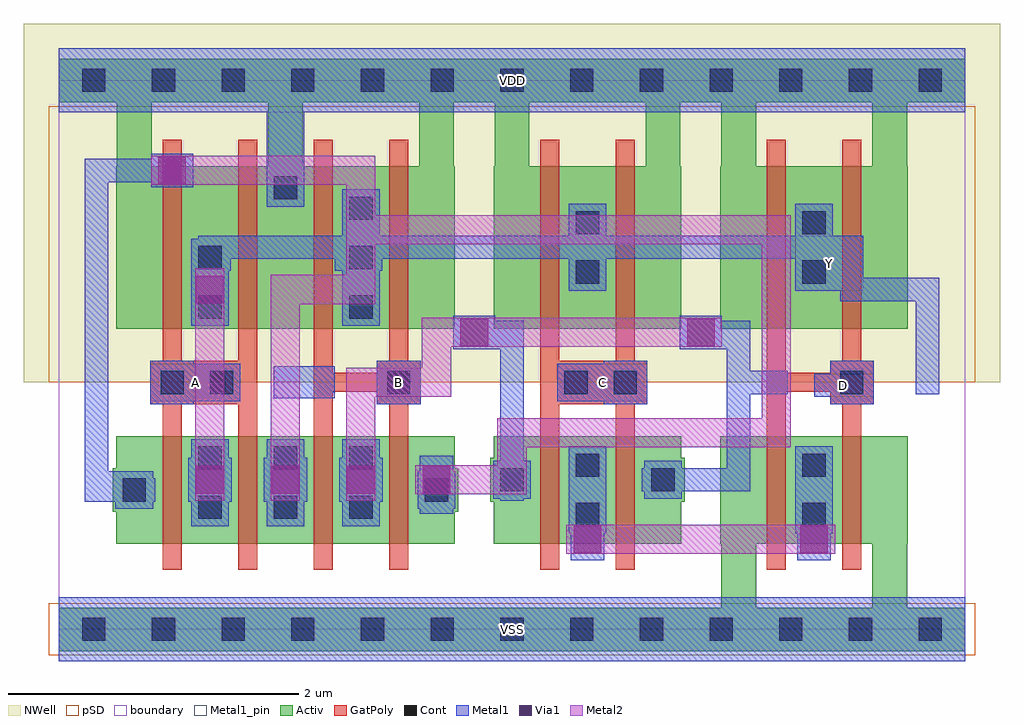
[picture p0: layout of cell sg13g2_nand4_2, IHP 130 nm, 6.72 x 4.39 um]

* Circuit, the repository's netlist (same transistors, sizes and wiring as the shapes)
.SUBCKT sg13g2_nand4_2 Y A B C D VDD VSS
*.PININFO A:I B:I C:I D:I Y:O VDD:B VSS:B
MP3 Y D VDD VDD sg13_lv_pmos w=2.24u l=130.00n ng=2
MP0 Y A VDD VDD sg13_lv_pmos w=2.24u l=130.00n ng=2
MP1 Y B VDD VDD sg13_lv_pmos w=2.24u l=130.00n ng=2
MP2 Y C VDD VDD sg13_lv_pmos w=2.24u l=130.00n ng=2
MN1 net2 B net3 VSS sg13_lv_nmos w=1.48u l=130.00n ng=2
MN2 net3 C net5 VSS sg13_lv_nmos w=1.48u l=130.00n ng=2
MN0 Y A net2 VSS sg13_lv_nmos w=1.48u l=130.00n ng=2
MN3 net5 D VSS VSS sg13_lv_nmos w=1.48u l=130.00n ng=2
.ENDS

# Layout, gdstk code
import gdstk
lib = gdstk.Library(unit=1e-6, precision=1e-09)
def R(c, l, rs):  # rectangles x0, y0, x1, y1
    for r in rs: c.add(gdstk.rectangle(r[:2], r[2:], *l))
def A(c, l, x, y, w, h, nx, ny, dx, dy):  # array of equal rectangles
    R(c, l, [(x+i*dx, y+j*dy, x+i*dx+w, y+j*dy+h) for i in range(nx) for j in range(ny)])
def P(c, l, *ps):  # polygons
    for p in ps: c.add(gdstk.Polygon(p, *l))
Activ = (1, 0)
GatPoly = (5, 0)
Cont = (6, 0)
Metal1 = (8, 0)
Metal1_pin = (8, 2)
Metal2 = (10, 0)
pSD = (14, 0)
Via1 = (19, 0)
NWell = (31, 0)
boundary = (189, 4)

sg13g2_nand4_2 = lib.new_cell('sg13g2_nand4_2')
P(sg13g2_nand4_2, Activ, [(4.56,0.15),(0,0.15),(0,-0.15),(6.24,-0.15),(6.24,0.15),(4.56,0.15),(4.8,0.15),(4.8,0.59),(5.6,0.59),(5.6,0.15),(5.84,0.15),(5.84,0.59),(5.845,0.59),(5.845,1.33),(4.555,1.33),(4.555,0.59),(4.56,0.59)],
  [(4.8,3.63),(4.8,3.93),(3.24,3.93),(3.24,3.63),(3.24,3.93),(1.68,3.93),(1.68,3.63),(1.68,3.93),(0.64,3.93),(0.64,3.63),(0.64,3.93),(0,3.93),(0,3.63),(0.4,3.63),(0.4,3.19),(0.395,3.19),(0.395,2.07),(0.64,2.07),(0.64,3.63),(1.44,3.63),(1.44,3.19),(0.64,3.19),(0.64,2.07),(1.68,2.07),(1.68,3.63),(2.48,3.63),(2.48,3.19),(1.68,3.19),(1.68,2.07),(2.725,2.07),(2.725,3.19),(2.72,3.19),(2.72,3.63),(3,3.63),(3,3.19),(2.995,3.19),(2.995,2.07),(3.24,2.07),(3.24,3.63),(4.04,3.63),(4.04,3.19),(3.24,3.19),(3.24,2.07),(4.285,2.07),(4.285,3.19),(4.28,3.19),(4.28,3.63),(4.56,3.63),(4.56,3.19),(4.555,3.19),(4.555,2.07),(4.8,2.07),(4.8,3.63),(5.6,3.63),(5.6,3.19),(4.8,3.19),(4.8,2.07),(5.845,2.07),(5.845,3.19),(5.84,3.19),(5.84,3.63),(6.24,3.63),(6.24,3.93),(4.8,3.93)],
  [(0.37,0.81),(0.395,0.81),(0.395,0.59),(2.725,0.59),(2.725,0.81),(2.75,0.81),(2.75,1.11),(2.725,1.11),(2.725,1.33),(0.395,1.33),(0.395,1.11),(0.37,1.11)],
  [(2.97,0.88),(2.995,0.88),(2.995,0.59),(4.285,0.59),(4.285,0.88),(4.31,0.88),(4.31,1.18),(4.285,1.18),(4.285,1.33),(2.995,1.33),(2.995,1.18),(2.97,1.18)])
P(sg13g2_nand4_2, GatPoly, [(0.63,1.55),(0.715,1.55),(0.715,0.41),(0.845,0.41),(0.845,1.55),(1.235,1.55),(1.235,0.41),(1.365,0.41),(1.365,3.37),(1.235,3.37),(1.235,1.85),(0.845,1.85),(0.845,3.37),(0.715,3.37),(0.715,1.85),(0.63,1.85)],
  [(1.755,0.41),(1.885,0.41),(1.885,1.635),(2.19,1.635),(2.19,1.55),(2.275,1.55),(2.275,0.41),(2.405,0.41),(2.405,1.55),(2.49,1.55),(2.49,1.85),(2.405,1.85),(2.405,3.37),(2.275,3.37),(2.275,1.85),(2.19,1.85),(2.19,1.765),(1.885,1.765),(1.885,3.37),(1.755,3.37)],
  [(3.315,0.41),(3.445,0.41),(3.445,1.55),(3.835,1.55),(3.835,0.41),(3.965,0.41),(3.965,1.55),(4.05,1.55),(4.05,1.85),(3.965,1.85),(3.965,3.37),(3.835,3.37),(3.835,1.85),(3.445,1.85),(3.445,3.37),(3.315,3.37)],
  [(4.875,0.41),(5.005,0.41),(5.005,1.635),(5.31,1.635),(5.31,1.55),(5.395,1.55),(5.395,0.41),(5.525,0.41),(5.525,1.55),(5.61,1.55),(5.61,1.85),(5.525,1.85),(5.525,3.37),(5.395,3.37),(5.395,1.85),(5.31,1.85),(5.31,1.765),(5.005,1.765),(5.005,3.37),(4.875,3.37)])
A(sg13g2_nand4_2, Cont, 0.16, -0.08, 0.16, 0.16, 13, 2, 0.48, 3.78)
A(sg13g2_nand4_2, Cont, 0.96, 0.76, 0.16, 0.16, 3, 2, 0.52, 0.34)
A(sg13g2_nand4_2, Cont, 1.04, 1.62, 0.16, 0.16, 3, 1, 1.22, 0)
A(sg13g2_nand4_2, Cont, 2, 2.14, 0.16, 0.16, 1, 3, 0, 0.34)
R(sg13g2_nand4_2, Cont, [(3.56,0.71,3.72,0.87), (5.12,0.71,5.28,0.87), (0.44,0.88,0.6,1.04), (2.52,0.88,2.68,1.04), (3.04,0.95,3.2,1.11), (4.08,0.95,4.24,1.11), (3.56,1.05,3.72,1.21), (5.12,1.05,5.28,1.21), (0.7,1.62,0.86,1.78), (3.82,1.62,3.98,1.78), (5.38,1.62,5.54,1.78), (0.96,2.14,1.12,2.3), (3.56,2.38,3.72,2.54), (5.12,2.38,5.28,2.54), (0.96,2.48,1.12,2.64), (3.56,2.72,3.72,2.88), (5.12,2.72,5.28,2.88), (1.48,2.96,1.64,3.12)])
R(sg13g2_nand4_2, Metal1, [(0,-0.22,6.24,0.22), (2.19,1.55,2.49,1.85), (1.48,1.59,1.9,1.81)])
P(sg13g2_nand4_2, Metal1, [(0,3.56),(1.43,3.56),(1.43,2.91),(1.69,2.91),(1.69,3.56),(6.24,3.56),(6.24,4),(0,4)],
  [(0.18,0.88),(0.39,0.88),(0.39,0.83),(0.65,0.83),(0.65,0.88),(0.665,0.88),(0.665,1.04),(0.65,1.04),(0.65,1.09),(0.34,1.09),(0.34,3.08),(0.635,3.08),(0.635,3.045),(0.925,3.045),(0.925,3.275),(0.635,3.275),(0.635,3.24),(0.18,3.24)],
  [(0.63,1.55),(0.93,1.55),(0.93,1.57),(1.25,1.57),(1.25,1.83),(0.93,1.83),(0.93,1.85),(0.63,1.85)],
  [(0.89,0.88),(0.91,0.88),(0.91,0.71),(1.17,0.71),(1.17,0.88),(1.19,0.88),(1.19,1.18),(1.17,1.18),(1.17,1.31),(0.91,1.31),(0.91,1.18),(0.89,1.18)],
  [(0.91,2.09),(1.17,2.09),(1.17,2.47),(1.185,2.47),(1.185,2.55),(1.9,2.55),(1.9,2.47),(1.95,2.47),(1.95,2.09),(2.21,2.09),(2.21,2.47),(2.225,2.47),(2.225,2.55),(3.51,2.55),(3.51,2.33),(3.77,2.33),(3.77,2.55),(5.07,2.55),(5.07,2.33),(5.38,2.33),(5.38,2.26),(5.9,2.26),(5.9,1.62),(6.06,1.62),(6.06,2.42),(5.54,2.42),(5.54,2.71),(5.33,2.71),(5.33,2.93),(5.07,2.93),(5.07,2.71),(3.77,2.71),(3.77,2.93),(3.51,2.93),(3.51,2.71),(2.21,2.71),(2.21,3.03),(1.95,3.03),(1.95,2.71),(0.96,2.71),(0.96,2.69),(0.91,2.69)],
  [(1.41,0.88),(1.43,0.88),(1.43,0.71),(1.69,0.71),(1.69,0.88),(1.71,0.88),(1.71,1.18),(1.69,1.18),(1.69,1.31),(1.43,1.31),(1.43,1.18),(1.41,1.18)],
  [(1.93,0.88),(1.95,0.88),(1.95,0.71),(2.21,0.71),(2.21,0.88),(2.23,0.88),(2.23,1.18),(2.21,1.18),(2.21,1.31),(1.95,1.31),(1.95,1.18),(1.93,1.18)],
  [(2.47,0.83),(2.485,0.83),(2.485,0.795),(2.715,0.795),(2.715,0.83),(2.73,0.83),(2.73,1.09),(2.715,1.09),(2.715,1.195),(2.485,1.195),(2.485,1.09),(2.47,1.09)],
  [(2.715,1.93),(3.04,1.93),(3.04,1.16),(2.99,1.16),(2.99,0.9),(3.04,0.9),(3.04,0.885),(3.2,0.885),(3.2,0.9),(3.25,0.9),(3.25,1.16),(3.2,1.16),(3.2,2.125),(3.005,2.125),(3.005,2.16),(2.715,2.16)],
  [(3.43,1.57),(3.75,1.57),(3.75,1.55),(4.05,1.55),(4.05,1.85),(3.75,1.85),(3.75,1.83),(3.43,1.83)],
  [(3.51,0.66),(3.525,0.66),(3.525,0.475),(3.755,0.475),(3.755,0.66),(3.77,0.66),(3.77,1.26),(3.51,1.26)],
  [(4.015,0.95),(4.03,0.95),(4.03,0.9),(4.29,0.9),(4.29,0.95),(4.76,0.95),(4.76,1.62),(5.02,1.62),(5.02,1.78),(4.76,1.78),(4.76,2.125),(4.565,2.125),(4.565,2.16),(4.275,2.16),(4.275,1.93),(4.6,1.93),(4.6,1.11),(4.29,1.11),(4.29,1.16),(4.03,1.16),(4.03,1.11),(4.015,1.11)],
  [(5.07,0.66),(5.085,0.66),(5.085,0.475),(5.315,0.475),(5.315,0.66),(5.33,0.66),(5.33,1.26),(5.07,1.26)],
  [(5.2,1.6),(5.31,1.6),(5.31,1.55),(5.61,1.55),(5.61,1.85),(5.31,1.85),(5.31,1.76),(5.2,1.76)])
R(sg13g2_nand4_2, Metal1_pin, [(0,-0.22,6.24,0.22), (2.19,1.55,2.49,1.85), (0.63,1.57,1.25,1.83), (3.43,1.57,4.05,1.83), (5.2,1.6,5.61,1.76), (5.07,2.33,5.54,2.71), (0,3.56,6.24,4)])
R(sg13g2_nand4_2, Metal2, [(3.495,0.52,5.345,0.72), (0.94,0.885,1.14,2.485)])
P(sg13g2_nand4_2, Metal2, [(0.635,3.06),(1.98,3.06),(1.98,2.44),(1.46,2.44),(1.46,0.885),(1.66,0.885),(1.66,2.24),(2.18,2.24),(2.18,2.65),(4.84,2.65),(4.84,1.455),(3.02,1.455),(3.02,1.13),(2.455,1.13),(2.455,0.93),(3.22,0.93),(3.22,1.255),(5.04,1.255),(5.04,2.85),(2.18,2.85),(2.18,3.26),(0.635,3.26)],
  [(1.98,0.885),(2.18,0.885),(2.18,1.6),(2.7,1.6),(2.7,1.945),(4.565,1.945),(4.565,2.145),(2.5,2.145),(2.5,1.8),(1.98,1.8)])
R(sg13g2_nand4_2, pSD, [(-0.07,-0.18,6.31,0.18), (-0.07,1.7,6.31,3.6)])
A(sg13g2_nand4_2, Via1, 0.945, 0.935, 0.19, 0.19, 4, 1, 0.52, 0)
R(sg13g2_nand4_2, Via1, [(3.545,0.525,3.735,0.715), (5.105,0.525,5.295,0.715), (2.765,1.95,2.955,2.14), (4.325,1.95,4.515,2.14), (0.945,2.245,1.135,2.435), (0.685,3.065,0.875,3.255)])
R(sg13g2_nand4_2, NWell, [(-0.24,1.7,6.48,4.17)])
R(sg13g2_nand4_2, boundary, [(0,0,6.24,3.78)])
sg13g2_nand4_2.add(gdstk.Label('A', (0.94,1.7), layer=8, texttype=25))
sg13g2_nand4_2.add(gdstk.Label('Y', (5.305,2.52), layer=8, texttype=25))
sg13g2_nand4_2.add(gdstk.Label('B', (2.34,1.7), layer=8, texttype=25))
sg13g2_nand4_2.add(gdstk.Label('C', (3.74,1.7), layer=8, texttype=25))
sg13g2_nand4_2.add(gdstk.Label('D', (5.405,1.68), layer=8, texttype=25))
sg13g2_nand4_2.add(gdstk.Label('VSS', (3.12,0), layer=8, texttype=25))
sg13g2_nand4_2.add(gdstk.Label('VDD', (3.12,3.78), layer=8, texttype=25))

lib.write_gds('sg13g2_nand4_2.gds')
